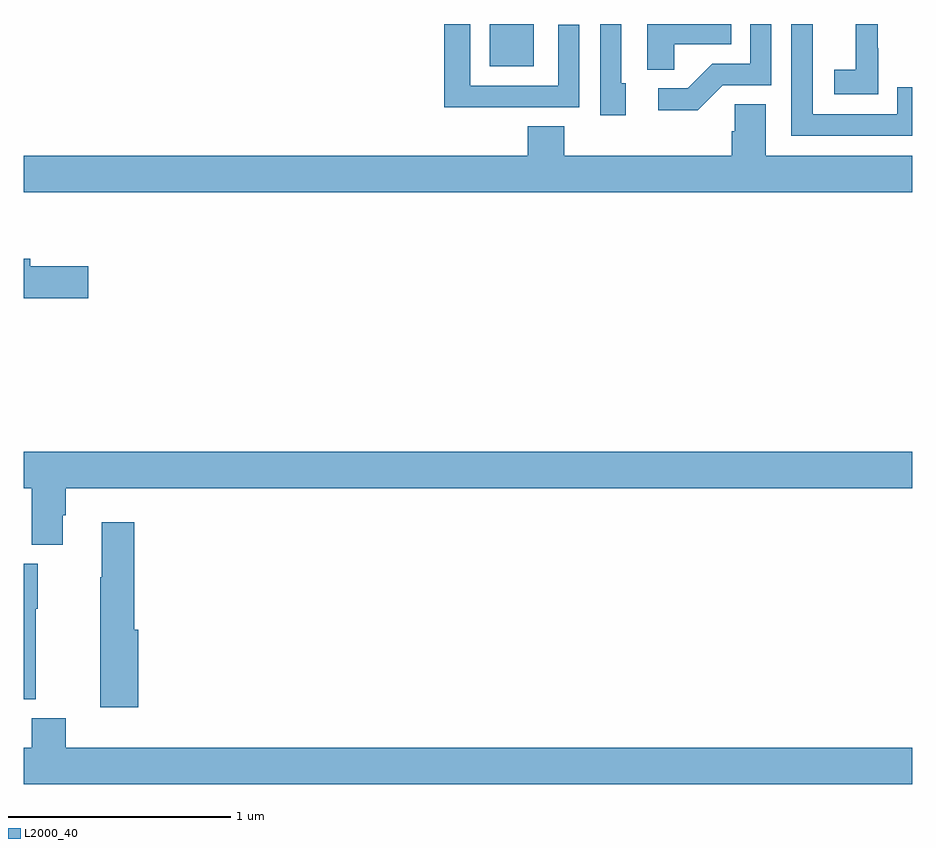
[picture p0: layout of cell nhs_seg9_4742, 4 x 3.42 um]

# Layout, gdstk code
import gdstk
lib = gdstk.Library(unit=1e-6, precision=1e-09)
def R(c, l, rs):  # rectangles x0, y0, x1, y1
    for r in rs: c.add(gdstk.rectangle(r[:2], r[2:], *l))
def P(c, l, *ps):  # polygons
    for p in ps: c.add(gdstk.Polygon(p, *l))
L2000_40 = (2000, 40)

nhs_seg9_4742 = lib.new_cell('nhs_seg9_4742')
R(nhs_seg9_4742, L2000_40, [(387.098,1206.311,387.295,1206.5)])
P(nhs_seg9_4742, L2000_40, [(387.185,1206.126),(387.501,1206.126),(387.501,1206.496),(387.405,1206.496),(387.405,1206.222),(387.009,1206.222),(387.009,1206.5),(386.893,1206.5),(386.893,1206.125),(387.185,1206.125)],
  [(388.146,1206.225),(388.365,1206.225),(388.365,1206.5),(388.269,1206.5),(388.269,1206.321),(388.1,1206.321),(387.989,1206.21),(387.855,1206.21),(387.855,1206.113),(388.033,1206.113)],
  [(387.927,1206.41),(388.184,1206.41),(388.184,1206.5),(387.806,1206.5),(387.806,1206.295),(387.927,1206.295)],
  [(387.709,1206.234),(387.69,1206.234),(387.69,1206.5),(387.594,1206.5),(387.594,1206.09),(387.709,1206.09)],
  [(389,1206.216),(388.932,1206.216),(388.932,1206.093),(388.551,1206.093),(388.551,1206.5),(388.455,1206.5),(388.455,1205.997),(389,1205.997)],
  [(388.845,1206.391),(388.844,1206.391),(388.844,1206.5),(388.745,1206.5),(388.745,1206.295),(388.647,1206.295),(388.647,1206.185),(388.845,1206.185)],
  [(389,1205.908),(388.339,1205.908),(388.339,1206.14),(388.2,1206.14),(388.2,1206.017),(388.187,1206.017),(388.187,1205.908),(387.434,1205.908),(387.434,1206.041),(387.269,1206.041),(387.269,1205.908),(385,1205.908),(385,1205.744),(389,1205.744)],
  [(385.291,1205.409),(385.03,1205.409),(385.03,1205.443),(385,1205.443),(385,1205.267),(385.291,1205.267)],
  [(385.177,1204.29),(385.19,1204.29),(385.19,1204.412),(389,1204.412),(389,1204.576),(385,1204.576),(385,1204.412),(385.037,1204.412),(385.037,1204.156),(385.177,1204.156)],
  [(385.517,1203.774),(385.499,1203.774),(385.499,1204.258),(385.352,1204.258),(385.352,1204.01),(385.345,1204.01),(385.345,1203.774),(385.346,1203.774),(385.346,1203.426),(385.517,1203.426)],
  [(385.055,1203.868),(385.063,1203.868),(385.063,1204.071),(385,1204.071),(385,1203.462),(385.055,1203.462)],
  [(389,1203.244),(385.19,1203.244),(385.19,1203.377),(385.037,1203.377),(385.037,1203.244),(385,1203.244),(385,1203.08),(389,1203.08)])

lib.write_gds('nhs_seg9_4742.gds')
